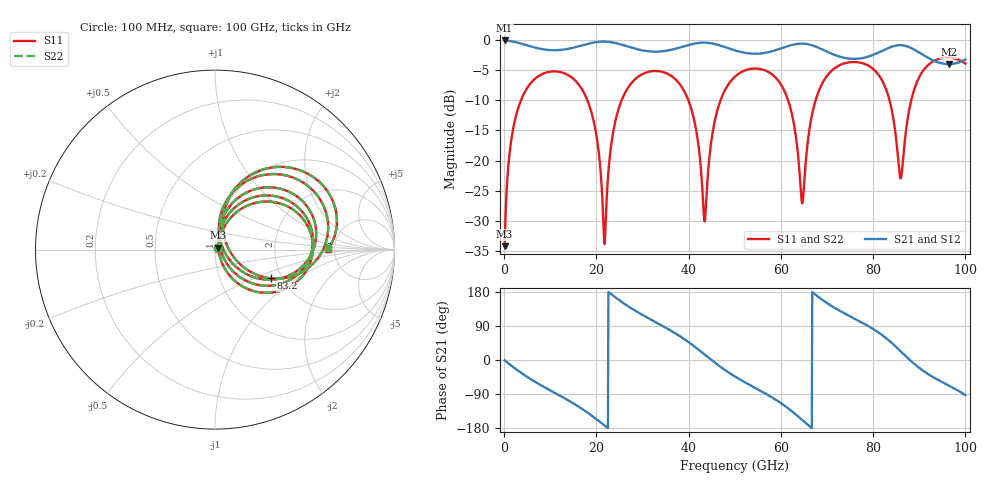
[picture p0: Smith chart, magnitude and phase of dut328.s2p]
! Touchstone file exported from HFSS 2026.1.0
!  File:  C:/ffzhzh/LocalFiles/Ansys_Project_Files/temp_train_TSV_RDL_328_1783703164_45164.aedt
!  Generated:  01:14:24 AM Jul 11, 2026
!  Design:  TSV_RDL
!  Project:  temp_train_TSV_RDL_328_1783703164_45164
! Variables:
!  h_bsmrdl = 2.59um
!  h_ox = 20um
!  h_rdl = 5um
!  h_sub = 92.3um
!  h_tmrdl = 2.87um
!  h_tsv = 92.3um
!  h_via = 3um
!  l_bsmrdl = 231.85um
!  l_sub = 2380.26um
!  l_tmrdl = 297.8um
!  m_sub = 200um
!  pitch = 52.82um
!  r_tsv = 10.76um
!  s_tmrdl = 10um
!  w_bsmrdl = 13.85um
!  w_sub = 500um
!  w_tmrdl = 17.32um
!  x_tsv_center1 = 306.46um
!  x_tsv_center2 = 552.16um
!  x_tsv_center3 = 867.28um
!  x_tsv_center4 = 1112.98um
!  x_tsv_center5 = 1428.1um
!  x_tsv_center6 = 1673.8um
# GHz S MA R 50.000000
! Terminal data exported
! Port[1] = TM_RDL1_1_T1
! Port[2] = TM_RDL5_1_T1
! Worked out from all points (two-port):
!   1000 points, 100 MHz to 100 GHz, reference 50 ohm
!   highest |S21| = -0.15 dB at 100 MHz (marker M1); lowest = -4.1 dB at 96.4 GHz (marker M2)
!   |S21| within 3 dB of the highest: start of sweep to 74.73 GHz; 76.98 GHz to 92.2 GHz (15.23 GHz wide, 18 % of centre)
!   lowest |S11| = -34.2 dB at 100 MHz (marker M3), VSWR 1.04, Z = 51.7 + j1.03 ohm
!   |S11| at or under -10 dB: 18.03 GHz to 25.49 GHz (7.466 GHz wide, 34.3 % of centre); 39.92 GHz to 46.94 GHz (7.021 GHz wide, 16.2 % of centre); 61.54 GHz to 67.54 GHz (5.998 GHz wide, 9.29 % of centre) (the widest 3 of 5)
!   |S22| runs from -34.2 to -3.0 dB; largest |S21 - S12| = 5.8e-13
!   S11 on the Smith chart (normalised r, x): 100 MHz: 1.03, +0.02; 83.2 GHz: 1.75, -0.64; 100 GHz: 4.44, +0.08
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0.1  0.01959 30.7  0.9833 -1.0  0.9833 -1.0  0.01959 30.7
! Gamma 0 0 0 0
! Port Impedance 50 0 50 0
1.7  0.1614 66.4  0.9663 -16.2  0.9663 -16.2  0.1614 66.4
4.6  0.3759 45.2  0.905 -41.5  0.905 -41.5  0.3759 45.2
16.8  0.3923 -37.7  0.8931 -128.2  0.8931 -128.2  0.3923 -37.7
19.8  0.179 -59.6  0.9504 -154.2  0.9504 -154.2  0.179 -59.7
21.8  0.02044 16.2  0.9619 -173.1  0.9619 -173.1  0.0202 16.3
25.2  0.2956 61.1  0.9134 155.7  0.9134 155.7  0.2955 61.2
33.4  0.5485 5.5  0.7956 96.2  0.7956 96.2  0.5485 5.5
40.2  0.2955 -40.8  0.906 45.2  0.906 45.2  0.2954 -40.8
43.5  0.03128 19.0  0.9435 14.0  0.9435 14.0  0.03085 19.2
45.9  0.2326 72.9  0.9146 -9.0  0.9146 -9.0  0.2326 73.0
50.1  0.496 43.3  0.8126 -44.0  0.8126 -44.0  0.496 43.3
60.2  0.4132 -22.1  0.8492 -115.5  0.8492 -115.5  0.4132 -22.2
64.6  0.04421 17.3  0.9262 -157.9  0.9262 -157.9  0.04295 17.0
66.7  0.2344 79.2  0.8978 -179.7  0.8978 -179.7  0.234 79.6
76.2  0.6517 17.6  0.6924 107.7  0.6924 107.7  0.6516 17.7
83.2  0.3501 -27.2  0.8493 53.7  0.8493 53.7  0.35 -27.2
83.4  0.33 -28.4  0.8556 51.7  0.8556 51.7  0.33 -28.4
86  0.07115 26.3  0.8991 22.6  0.8991 22.6  0.07081 26.4
89.5  0.4455 65.7  0.8015 -16.1  0.8015 -16.1  0.4453 65.8
96.4  0.7097 20.5  0.6267 -67.4  0.6267 -67.4  0.7096 20.6
100  0.6323 0.5  0.6846 -92.7  0.6846 -92.7  0.6323 0.6
